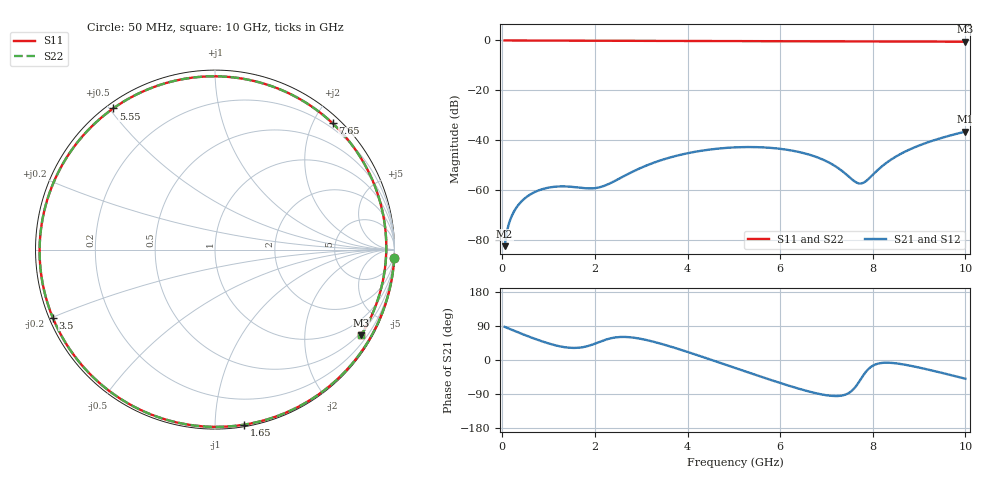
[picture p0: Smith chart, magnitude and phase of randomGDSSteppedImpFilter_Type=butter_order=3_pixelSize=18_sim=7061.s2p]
! freq	dB(S11)	phase(S11)	dB(S12)	phase(S12)
!  dB(S21)	phase(S21)	dB(S22)	phase(S22)
!S-par simulation data
#  GHz  S  DB  R 50
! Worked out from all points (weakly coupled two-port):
!   200 points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, 50 MHz to 10 GHz, reference 50 ohm
!   highest |S21| = -36.53 dB at 10 GHz (marker M1); lowest = -82.5 dB at 50 MHz (marker M2)
!   lowest |S11| = -0.5 dB at 10 GHz (marker M3), VSWR 34.45, Z = 20.9 - j182 ohm
!   |S11| at or under -10 dB: nowhere
!   |S22| runs from -0.5 to 0.0 dB; largest |S21 - S12| = 0
!   S11 on the Smith chart (normalised r, x): 50 MHz: 0, -44; 1.65 GHz: 0.01, -1.18; 3.5 GHz: 0.01, -0.20; 5.55 GHz: 0.02, +0.51; 7.65 GHz: 0.12, +2.29; 10 GHz: 0.42, -3.63
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0.05  -0.00 -2.6  -82.47 87.5  -82.47 87.5  -0.00 -2.6
0.15  -0.01 -7.7  -72.97 82.4  -72.97 82.4  -0.01 -7.7
0.25  -0.02 -12.8  -68.64 77.4  -68.64 77.4  -0.02 -12.8
0.55  -0.04 -27.9  -62.39 62.9  -62.39 62.9  -0.04 -27.9
1.05  -0.07 -52.5  -58.83 41.9  -58.83 41.9  -0.07 -52.5
1.65  -0.10 -80.7  -58.97 32.4  -58.97 32.4  -0.10 -80.6
1.75  -0.10 -85.2  -59.17 34.0  -59.17 34.0  -0.10 -85.1
2.1  -0.12 -100.6  -58.86 47.8  -58.86 47.8  -0.12 -100.6
2.5  -0.13 -117.5  -55.64 60.4  -55.64 60.4  -0.13 -117.5
3.4  -0.17 -153.4  -48.17 43.8  -48.17 43.8  -0.17 -153.4
3.5  -0.17 -157.3  -47.58 40.3  -47.58 40.3  -0.17 -157.2
4.25  -0.21 174.4  -44.36 11.3  -44.36 11.3  -0.21 174.4
5.05  -0.24 144.5  -42.83 -21.9  -42.83 -21.9  -0.24 144.6
5.55  -0.27 125.8  -42.80 -42.6  -42.80 -42.6  -0.27 125.9
6.15  -0.29 103.2  -43.82 -66.4  -43.82 -66.4  -0.29 103.3
6.7  -0.31 82.4  -46.19 -85.5  -46.19 -85.5  -0.31 82.5
7.15  -0.33 65.5  -49.93 -95.0  -49.93 -95.0  -0.33 65.6
7.65  -0.34 47.0  -56.99 -67.2  -56.99 -67.2  -0.34 47.1
7.85  -0.35 39.8  -56.44 -31.4  -56.44 -31.4  -0.35 39.8
8.35  -0.37 22.0  -48.32 -7.2  -48.32 -7.2  -0.37 22.1
9.15  -0.42 -4.7  -41.08 -24.0  -41.08 -24.0  -0.42 -4.6
10  -0.50 -30.4  -36.53 -49.5  -36.53 -49.5  -0.50 -30.3
